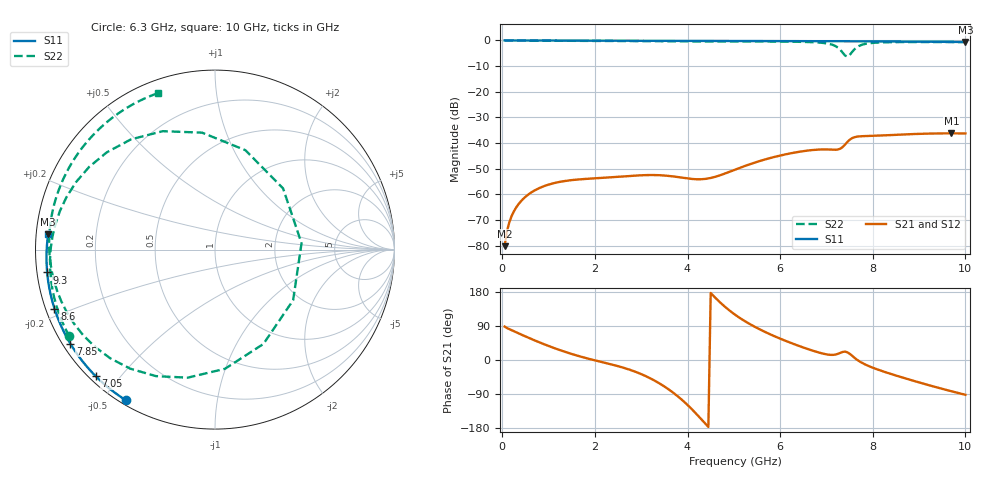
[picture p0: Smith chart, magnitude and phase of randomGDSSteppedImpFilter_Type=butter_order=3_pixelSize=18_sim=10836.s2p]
! freq	dB(S11)	phase(S11)	dB(S12)	phase(S12)
!  dB(S21)	phase(S21)	dB(S22)	phase(S22)
!S-par simulation data
#  GHz  S  DB  R 50
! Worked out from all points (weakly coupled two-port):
!   200 points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, 50 MHz to 10 GHz, reference 50 ohm
!   highest |S21| = -36.25 dB at 9.7 GHz (marker M1); lowest = -80.3 dB at 50 MHz (marker M2)
!   lowest |S11| = -0.6 dB at 10 GHz (marker M3), VSWR 29.09, Z = 1.72 + j2.27 ohm
!   |S11| at or under -10 dB: nowhere
!   |S22| runs from -6.3 to 0.0 dB; largest |S21 - S12| = 0
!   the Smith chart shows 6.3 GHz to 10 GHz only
!   S11 on the Smith chart (normalised r, x): 6.3 GHz: 0.02, -0.57; 7.05 GHz: 0.02, -0.43; 7.85 GHz: 0.02, -0.30; 8.6 GHz: 0.02, -0.18; 9.3 GHz: 0.03, -0.07; 10 GHz: 0.03, +0.05
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0.05  -0.00 -1.1  -80.26 88.2  -80.26 88.2  -0.00 -4.7
0.3  -0.01 -6.4  -65.15 73.1  -65.15 73.1  -0.04 -27.6
0.9  -0.02 -19.0  -56.85 41.7  -56.85 41.7  -0.10 -80.6
1.75  -0.05 -36.5  -54.08 7.0  -54.08 7.0  -0.17 -150.3
2.5  -0.07 -51.5  -53.24 -16.3  -53.24 -16.3  -0.24 146.8
3  -0.08 -61.3  -52.60 -37.2  -52.60 -37.2  -0.29 100.2
3.4  -0.09 -68.9  -52.58 -62.2  -52.58 -62.2  -0.34 60.3
4.1  -0.11 -82.0  -54.04 -130.7  -54.04 -130.7  -0.37 -7.8
4.6  -0.13 -91.1  -53.19 164.2  -53.19 164.2  -0.37 -49.1
5.05  -0.15 -99.1  -50.24 117.5  -50.24 117.5  -0.37 -80.2
6.3  -0.22 -120.7  -43.78 41.9  -43.78 41.9  -0.49 -149.2
6.7  -0.25 -127.5  -42.75 24.7  -42.75 24.7  -0.68 -173.1
7.05  -0.27 -133.4  -42.54 14.0  -42.54 14.0  -1.30 154.1
7.3  -0.29 -137.6  -42.21 18.9  -42.21 18.9  -3.67 96.3
7.45  -0.31 -140.2  -39.63 20.5  -39.63 20.5  -6.31 4.2
7.6  -0.32 -142.7  -37.77 6.3  -37.77 6.3  -3.53 -85.2
7.85  -0.34 -147.0  -37.30 -12.6  -37.30 -12.6  -1.30 -141.0
8.35  -0.39 -155.5  -36.94 -35.2  -36.94 -35.2  -0.68 178.9
8.6  -0.42 -159.8  -36.72 -44.7  -36.72 -44.7  -0.63 166.3
9.3  -0.50 -172.2  -36.31 -69.5  -36.31 -69.5  -0.61 137.0
9.7  -0.56 -179.6  -36.25 -82.5  -36.25 -82.5  -0.63 121.5
10  -0.60 174.8  -36.29 -91.8  -36.29 -91.8  -0.65 109.9
